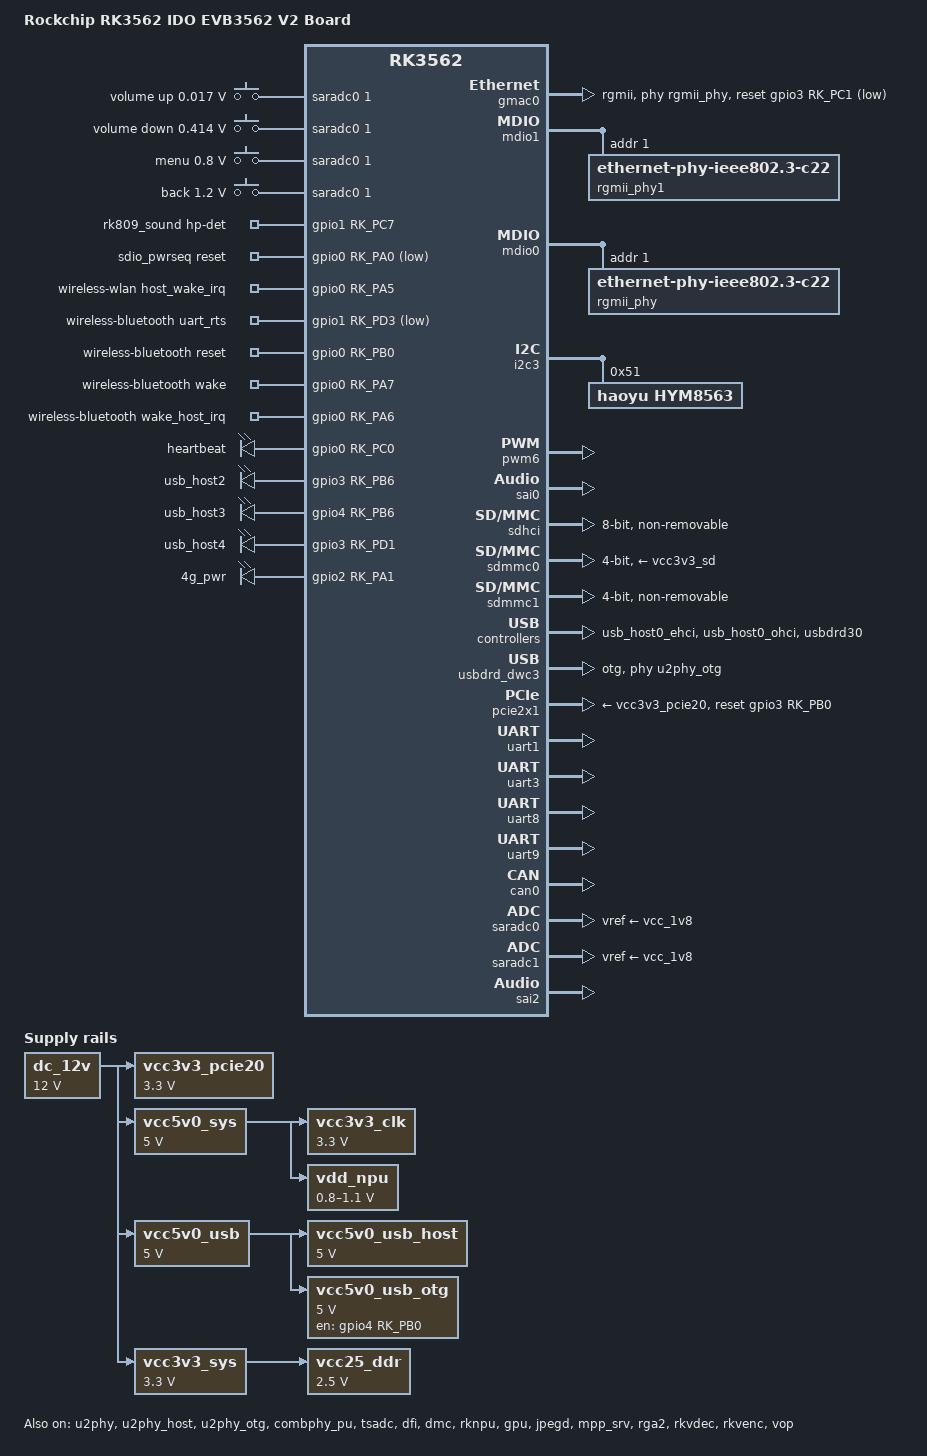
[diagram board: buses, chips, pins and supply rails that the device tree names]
// SPDX-License-Identifier: (GPL-2.0 OR MIT)
/*
 * Copyright (c) 2022 Rockchip Electronics Co., Ltd.
 *
 */

/dts-v1/;

#include "rk3562.dtsi"
#include "rk3562-linux.dtsi"
#include "rk3562-rk809.dtsi"
//#include "ido-evb3562-v2a-cam.dtsi"
#include "ido-evb3562-v2a-cam-ov13855x2.dtsi"
#include <dt-bindings/gpio/gpio.h>
#include <dt-bindings/pinctrl/rockchip.h>
#include <dt-bindings/sensor-dev.h>
#include <dt-bindings/input/input.h>

/ {
	model = "Rockchip RK3562 IDO EVB3562 V2 Board";
	compatible = "rockchip,Industio-EVB3562V2-VS1.0.0", "rockchip,rk3562";

	adc_keys: adc-keys {
		compatible = "adc-keys";
		io-channels = <&saradc0 1>;
		io-channel-names = "buttons";
		keyup-threshold-microvolt = <1800000>;
		poll-interval = <100>;

		vol-up-key {
			linux,code = <KEY_VOLUMEUP>;
			label = "volume up";
			press-threshold-microvolt = <17000>;
		};

		vol-down-key {
			linux,code = <KEY_VOLUMEDOWN>;
			label = "volume down";
			press-threshold-microvolt = <414000>;
		};

		menu-key {
			linux,code = <KEY_MENU>;
			label = "menu";
			press-threshold-microvolt = <800000>;
		};

		back-key {
			linux,code = <KEY_BACK>;
			label = "back";
			press-threshold-microvolt = <1200000>;
		};
	};

	bt_sco: bt-sco {
		status = "okay";
		compatible = "delta,dfbmcs320";
		#sound-dai-cells = <0>;
	};

	bt_sound: bt-sound {
		status = "okay";
		compatible = "simple-audio-card";
		simple-audio-card,format = "dsp_a";
		simple-audio-card,bitclock-inversion = <0>;
		simple-audio-card,mclk-fs = <256>;
		simple-audio-card,name = "rockchip,bt";
		simple-audio-card,cpu {
			sound-dai = <&sai2>;
		};
		simple-audio-card,codec {
			sound-dai = <&bt_sco>;
		};
	};

	dc_12v: dc-12v {
		compatible = "regulator-fixed";
		regulator-name = "dc_12v";
		regulator-always-on;
		regulator-boot-on;
		regulator-min-microvolt = <12000000>;
		regulator-max-microvolt = <12000000>;
	};

	rk809_sound: rk809-sound {
		status = "okay";
		compatible = "rockchip,multicodecs-card";
		rockchip,card-name = "rockchip-rk809";
		hp-det-gpio = <&gpio1 RK_PC7 GPIO_ACTIVE_HIGH>;
		rockchip,format = "i2s";
		rockchip,mclk-fs = <256>;
		rockchip,cpu = <&sai0>;
		rockchip,codec = <&rk809_codec>;
		pinctrl-names = "default";
		pinctrl-0 = <&hp_det>;
	};

	vcc3v3_pcie20: vcc3v3-pcie20 {
		compatible = "regulator-fixed";
		regulator-name = "vcc3v3_pcie20";
		regulator-min-microvolt = <3300000>;
		regulator-max-microvolt = <3300000>;
		enable-active-high;
		// gpios = <&gpio0 RK_PB7 GPIO_ACTIVE_HIGH>;
		startup-delay-us = <5000>;
		vin-supply = <&dc_12v>;
		status = "okay";
	};

	vcc5v0_sys: vcc5v0-sys {
		compatible = "regulator-fixed";
		regulator-name = "vcc5v0_sys";
		regulator-always-on;
		regulator-boot-on;
		regulator-min-microvolt = <5000000>;
		regulator-max-microvolt = <5000000>;
		vin-supply = <&dc_12v>;
	};

	vcc5v0_usb: vcc5v0-usb {
		compatible = "regulator-fixed";
		regulator-name = "vcc5v0_usb";
		regulator-always-on;
		regulator-boot-on;
		regulator-min-microvolt = <5000000>;
		regulator-max-microvolt = <5000000>;
		vin-supply = <&dc_12v>;
	};

	vcc5v0_usb_host: vcc5v0-usb-host {
		compatible = "regulator-fixed";
		regulator-name = "vcc5v0_usb_host";
		regulator-boot-on;
		regulator-always-on;
		regulator-min-microvolt = <5000000>;
		regulator-max-microvolt = <5000000>;
		enable-active-high;
		// gpio = <&gpio4 RK_PB0 GPIO_ACTIVE_HIGH>;
		vin-supply = <&vcc5v0_usb>;
		pinctrl-names = "default";
		// pinctrl-0 = <&usb_host_pwren>;
	};

	vcc5v0_usb_otg: vcc5v0-usb-otg {
		compatible = "regulator-fixed";
		regulator-name = "vcc5v0_usb_otg";
		regulator-min-microvolt = <5000000>;
		regulator-max-microvolt = <5000000>;
		enable-active-high;
		gpio = <&gpio4 RK_PB0 GPIO_ACTIVE_HIGH>;
		vin-supply = <&vcc5v0_usb>;
		pinctrl-names = "default";
		pinctrl-0 = <&usb_otg_pwren>;
	};

	vcc3v3_clk: vcc3v3-clk {
		compatible = "regulator-fixed";
		regulator-name = "vcc3v3_clk";
		regulator-min-microvolt = <3300000>;
		regulator-max-microvolt = <3300000>;
		vin-supply = <&vcc5v0_sys>;
	};

	vcc3v3_sys: vcc-sys {
		compatible = "regulator-fixed";
		regulator-name = "vcc3v3_sys";
		regulator-always-on;
		regulator-boot-on;
		regulator-min-microvolt = <3300000>;
		regulator-max-microvolt = <3300000>;
		vin-supply = <&dc_12v>;
	};

	vcc25_ddr: vcc25-ddr {
		compatible = "regulator-fixed";
		regulator-name = "vcc25_ddr";
		regulator-always-on;
		regulator-boot-on;
		regulator-min-microvolt = <2500000>;
		regulator-max-microvolt = <2500000>;
		vin-supply = <&vcc3v3_sys>;
	};

	vdd_npu: vdd-npu {
		compatible = "pwm-regulator";
		pwms = <&pwm6 0 5000 1>;
		regulator-name = "vdd_npu";
		regulator-min-microvolt = <800000>;
		regulator-max-microvolt = <1100000>;
		regulator-init-microvolt = <900000>;
		regulator-always-on;
		regulator-boot-on;
		regulator-settling-time-up-us = <250>;
		pwm-supply = <&vcc5v0_sys>;
		voltage-table = <1000000 80>,
				<975000 75>,
				<925000 66>,
				<875000 57>,
				<825000 47>;
		status = "okay";
	};

	sdio_pwrseq: sdio-pwrseq {
		compatible = "mmc-pwrseq-simple";
		clocks = <&rk809 1>;
		clock-names = "ext_clock";
		pinctrl-names = "default";
		pinctrl-0 = <&wifi_enable_h>;

		/*
		 * On the module itself this is one of these (depending
		 * on the actual card populated):
		 * - SDIO_RESET_L_WL_REG_ON
		 * - PDN (power down when low)
		 */
		post-power-on-delay-ms = <200>;
		reset-gpios = <&gpio0 RK_PA0 GPIO_ACTIVE_LOW>;
	};

	wireless-wlan {
		compatible = "wlan-platdata";
		rockchip,grf = <&sys_grf>;
		wifi_chip_type = "ap6256";
		pinctrl-names = "default";
		pinctrl-0 = <&wifi_host_wake_irq>;
		WIFI,host_wake_irq = <&gpio0 RK_PA5 GPIO_ACTIVE_HIGH>;
		// WIFI,poweren_gpio = <&gpio0 RK_PB3 GPIO_ACTIVE_HIGH>;
		status = "okay";
	};

	wireless-bluetooth {
		compatible = "bluetooth-platdata";
		clocks = <&rk809 1>;
		clock-names = "ext_clock";
		//wifi-bt-power-toggle;
		uart_rts_gpios = <&gpio1 RK_PD3 GPIO_ACTIVE_LOW>;
		pinctrl-names = "default", "rts_gpio";
		pinctrl-0 = <&uart1m0_rtsn>, <&bt_reset_gpio>, <&bt_wake_gpio>, <&bt_irq_gpio>;
		pinctrl-1 = <&uart1_gpios>;
		BT,reset_gpio = <&gpio0 RK_PB0 GPIO_ACTIVE_HIGH>;
		BT,wake_gpio     = <&gpio0 RK_PA7 GPIO_ACTIVE_HIGH>;
		BT,wake_host_irq = <&gpio0 RK_PA6 GPIO_ACTIVE_HIGH>;
		status = "okay";
	};

	test-power {
		status = "okay";
	};

	leds: leds {
		status = "okay";
		compatible = "gpio-leds";
		pinctrl-names = "default";
		pinctrl-0 =<&leds_gpio>;

		heartbeat {
			gpios = <&gpio0 RK_PC0 GPIO_ACTIVE_HIGH>;
			linux,default-trigger = "heartbeat";
		};

		usb_host2 {
			gpios = <&gpio3 RK_PB6 GPIO_ACTIVE_HIGH>;
			default-state = "on";
		};

		usb_host3 {
			gpios = <&gpio4 RK_PB6 GPIO_ACTIVE_HIGH>;
			default-state = "on";
		};
		
		usb_host4 {
			gpios = <&gpio3 RK_PD1 GPIO_ACTIVE_HIGH>;
			default-state = "on";
		};

		4g_pwr {
			gpios = <&gpio2 RK_PA1 GPIO_ACTIVE_HIGH>;
			default-state = "on";
		};
	};
};

&gmac0 {
	phy-mode = "rgmii";
	clock_in_out = "input";

	snps,reset-gpio = <&gpio3 RK_PC1 GPIO_ACTIVE_LOW>;
	snps,reset-active-low;
	/* Reset time is 20ms, 100ms for rtl8211f */
	snps,reset-delays-us = <0 50000 100000>;

	//RTL8811
	// tx_delay = <0x3c>;
	// rx_delay = <0x2f>;

	tx_delay = <0x2c>;
	rx_delay = <0x35>;

	pinctrl-names = "default";
	pinctrl-0 = <&rgmiim0_miim
		     &rgmiim0_tx_bus2
		     &rgmiim0_rx_bus2
		     &rgmiim0_rgmii_clk
		     &rgmiim0_rgmii_bus
			 &rgmiim0_clk>;

	phy-handle = <&rgmii_phy>;
	status = "okay";
};

&gmac1 {
	phy-mode = "rmii";
	clock_in_out = "input";
	
	// snps,reset-gpio = <&gpio2 RK_PA1 GPIO_ACTIVE_LOW>;
	snps,reset-active-low;
	snps,reset-delays-us = <0 20000 100000>;

	tx_delay = <0x10>;
	rx_delay = <0x2f>;

	pinctrl-names="default";
	// pinctrl-0 = <&rmii_pins>;

	phy-handle = <&rgmii_phy1>;

	status = "disabled";
};

&mdio1 {
	rgmii_phy1: phy@1 {
		compatible = "ethernet-phy-ieee802.3-c22";
		reg = <0x01>;
	};
};

&mdio0 {
	rgmii_phy: phy@1 {
		compatible = "ethernet-phy-ieee802.3-c22";
		reg = <0x1>;
	};
};

&i2c3 {
	status = "okay";
	
	pinctrl-0 = <&i2c3m0_xfer>;
	hym8563:hym8563@51 {
		compatible = "haoyu,hym8563";
		reg = <0x51>;
		// #clock-cells = <0>;
		// clock-frequency = <32768>;
		status = "okay";
	};
};

&pinctrl {
	headphone {
		hp_det: hp-det {
			rockchip,pins = <1 RK_PC7 RK_FUNC_GPIO &pcfg_pull_none>;
		};
	};

	sdio-pwrseq {
		wifi_enable_h: wifi-enable-h {
			rockchip,pins = <0 RK_PA0 RK_FUNC_GPIO &pcfg_pull_none>;
		};
	};

	usb {
		usb_host_pwren: usb-host-pwren {
			rockchip,pins = <4 RK_PB0 RK_FUNC_GPIO &pcfg_pull_none>;
		};

		usb_otg_pwren: usb-otg-pwren {
			rockchip,pins = <4 RK_PB0 RK_FUNC_GPIO &pcfg_pull_none>;
		};
	};

	wireless-wlan {
		wifi_host_wake_irq: wifi-host-wake-irq {
			rockchip,pins = <0 RK_PA5 RK_FUNC_GPIO &pcfg_pull_down>;
		};
	};

	wireless-bluetooth {
		uart1_gpios: uart1-gpios {
			rockchip,pins = <1 RK_PD3 RK_FUNC_GPIO &pcfg_pull_none>;
		};

		bt_reset_gpio: bt-reset-gpio {
			rockchip,pins = <0 RK_PB0 RK_FUNC_GPIO &pcfg_pull_none>;
		};

		bt_wake_gpio: bt-wake-gpio {
			rockchip,pins = <0 RK_PA7 RK_FUNC_GPIO &pcfg_pull_none>;
		};
		
		bt_irq_gpio: bt-irq-gpio {
			rockchip,pins = <0 RK_PA6 RK_FUNC_GPIO &pcfg_pull_none>;
		};
	};

	gpio-leds {
		leds_gpio: leds-gpio {
			rockchip,pins =
					<0 RK_PC0 RK_FUNC_GPIO &pcfg_pull_none>,
					<3 RK_PB6 RK_FUNC_GPIO &pcfg_pull_none>,
					<4 RK_PB6 RK_FUNC_GPIO &pcfg_pull_none>,
					<3 RK_PD1 RK_FUNC_GPIO &pcfg_pull_none>,
					<2 RK_PA1 RK_FUNC_GPIO &pcfg_pull_none>;
		};
	};

};

&pwm6 {
	pinctrl-0 = <&pwm6m0_pins>;
	status = "okay";
};

&sai0 {
	status = "okay";
	pinctrl-names = "default";
	pinctrl-0 = <&i2s0m0_lrck
		     &i2s0m0_sclk
		     &i2s0m0_sdi0
		     &i2s0m0_sdo0>;
};

&sdhci {
	bus-width = <8>;
	no-sdio;
	no-sd;
	non-removable;
	max-frequency = <200000000>;
	mmc-hs400-1_8v;
	mmc-hs400-enhanced-strobe;
	full-pwr-cycle-in-suspend;
	status = "okay";
};

&sdmmc0 {
	max-frequency = <150000000>;
	supports-sd;

	no-sdio;
	no-mmc;
	bus-width = <4>;
	cap-mmc-highspeed;
	cap-sd-highspeed;
	disable-wp;
	sd-uhs-sdr104;
	vmmc-supply = <&vcc3v3_sd>;
	vqmmc-supply = <&vccio_sd>;
	pinctrl-names = "default";
	pinctrl-0 = <&sdmmc0_bus4 &sdmmc0_clk &sdmmc0_cmd &sdmmc0_det>;
	status = "okay";
};

&sdmmc1 {
	max-frequency = <150000000>;
	no-sd;
	no-mmc;
	bus-width = <4>;
	disable-wp;
	cap-sd-highspeed;
	cap-sdio-irq;
	keep-power-in-suspend;
	mmc-pwrseq = <&sdio_pwrseq>;
	non-removable;
	pinctrl-names = "default";
	pinctrl-0 = <&sdmmc1_bus4 &sdmmc1_cmd &sdmmc1_clk>;
//	sd-uhs-sdr104;
	status = "okay";
};

&u2phy {
	status = "okay";
};

&u2phy_host {
	status = "okay";
	phy-supply = <&vcc5v0_usb_host>;
};

&u2phy_otg {
	status = "okay";
	vbus-supply = <&vcc5v0_usb_otg>;
};

&usb_host0_ehci {
	status = "okay";
};

&usb_host0_ohci {
	status = "okay";
};

&usbdrd30 {
	status = "okay";
};

&usbdrd_dwc3 {
	status = "okay";
	dr_mode = "otg";
	extcon = <&u2phy>;
	maximum-speed = "high-speed";
	phys = <&u2phy_otg>;
	phy-names = "usb2-phy";
	snps,dis_u2_susphy_quirk;
	snps,usb2-lpm-disable;
};

&combphy_pu {
	status = "okay";
};

&pcie2x1 {
	pinctrl-0 = <&pcie20m1_pins>;
	reset-gpios = <&gpio3 RK_PB0 GPIO_ACTIVE_HIGH>;
	vpcie3v3-supply = <&vcc3v3_pcie20>;
	status = "okay";
};

&uart1 {
	status = "okay";
	pinctrl-names = "default";
	pinctrl-0 = <&uart1m0_xfer &uart1m0_ctsn>;
};//bt

//232
&uart3 {
	status = "okay";
	pinctrl-names = "default";
	pinctrl-0 = <&uart3m1_xfer>;
};

//与CAN0复用，二选一，默认关闭
&uart6 {
	status = "disabled";
	pinctrl-names = "default";
	pinctrl-0 = <&uart6m0_xfer>;
};
//232
&uart8 {
	status = "okay";
	pinctrl-names = "default";
	pinctrl-0 = <&uart8m0_xfer>;
};
//ttl
&uart9 {
	status = "okay";
	pinctrl-names = "default";
	pinctrl-0 = <&uart9m1_xfer>;
};

//与uart6复用，二选一，默认开启
&can0 {
	status = "okay";
	pinctrl-names = "default";
	pinctrl-0 = <&can0m2_pins>;	
};

&spi0 {
	status = "disabled";

	pinctrl-0 = <&spi0m0_pins &spi0m0_csn0>;
	spi_dev@0 {
		compatible = "rockchip,spidev";
		reg = <0>;
		spi-max-frequency = <12000000>;
		spi-lsb-first;
	};
};

&saradc0 {
	status = "okay";
	vref-supply = <&vcc_1v8>;
};

&saradc1 {
	status = "okay";
	vref-supply = <&vcc_1v8>;
};

&tsadc {
	status = "okay";
};

&rk809_codec {
	spk-ctl-gpios = <&gpio1 RK_PD0 GPIO_ACTIVE_LOW>;
	use-ext-amplifier;
	spk-mute-delay-ms = <300>;
};

&cpu0 {
	cpu-supply = <&vdd_cpu>;
};

&dfi {
	status = "okay";
};

&dmc {
	center-supply = <&vdd_logic>;
	status = "okay";
};

&rknpu {
	rknpu-supply = <&vdd_npu>;
	status = "okay";
};

&rknpu_mmu {
	status = "okay";
};

&gpu {
	status = "okay";
	mali-supply = <&vdd_gpu>;
};

&jpegd {
	status = "okay";
};

&jpegd_mmu {
	status = "okay";
};

&mpp_srv {
	status = "okay";
};

&rga2 {
	status = "okay";
};

&rga2_mmu {
	status = "okay";
};

&rkvdec {
	status = "okay";
};

&rkvdec_mmu {
	status = "okay";
};

&rkvenc {
	status = "okay";
};

&rkvenc_mmu {
	status = "okay";
};

&vop {
	status = "okay";
};

&vop_mmu {
	status = "okay";
};

&bt_sco {
	status = "okay";
};

&bt_sound {
	status = "okay";
};

&sai2 {
	status = "okay";
	pinctrl-names = "default";
	pinctrl-0 = <&i2s2m0_lrck
				&i2s2m0_sclk
				&i2s2m0_sdi
				&i2s2m0_sdo>;

};
